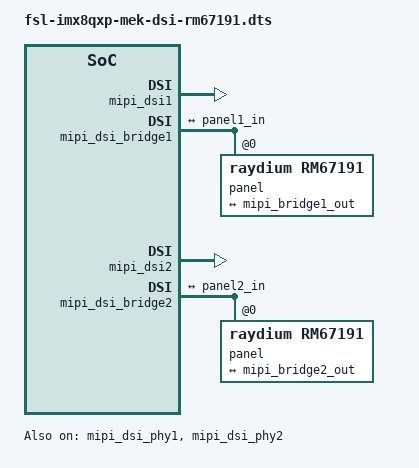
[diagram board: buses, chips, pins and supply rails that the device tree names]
/*
 * Copyright 2017 NXP
 *
 * This program is free software; you can redistribute it and/or
 * modify it under the terms of the GNU General Public License
 * as published by the Free Software Foundation; either version 2
 * of the License, or (at your option) any later version.
 *
 * This program is distributed in the hope that it will be useful,
 * but WITHOUT ANY WARRANTY; without even the implied warranty of
 * MERCHANTABILITY or FITNESS FOR A PARTICULAR PURPOSE.  See the
 * GNU General Public License for more details.
 */

#include "fsl-imx8qxp-mek.dts"

&mipi_dsi_phy1 {
	status = "okay";
};

&mipi_dsi1 {
	status = "okay";
};

&mipi_dsi_bridge1 {
	status = "okay";

	panel@0 {
		compatible = "raydium,rm67191";
		reg = <0>;
		dsi-lanes = <4>;
		panel-width-mm = <68>;
		panel-height-mm = <121>;
		port {
			panel1_in: endpoint {
				remote-endpoint = <&mipi_bridge1_out>;
			};
		};
	};

	port@1 {
		mipi_bridge1_out: endpoint {
			remote-endpoint = <&panel1_in>;
		};
	};
};

&mipi_dsi_phy2 {
	status = "okay";
};

&mipi_dsi2 {
	status = "okay";
};

&mipi_dsi_bridge2 {
	status = "okay";

	panel@0 {
		compatible = "raydium,rm67191";
		reg = <0>;
		dsi-lanes = <4>;
		panel-width-mm = <68>;
		panel-height-mm = <121>;
		port {
			panel2_in: endpoint {
				remote-endpoint = <&mipi_bridge2_out>;
			};
		};
	};

	port@1 {
		mipi_bridge2_out: endpoint {
			remote-endpoint = <&panel2_in>;
		};
	};
};
